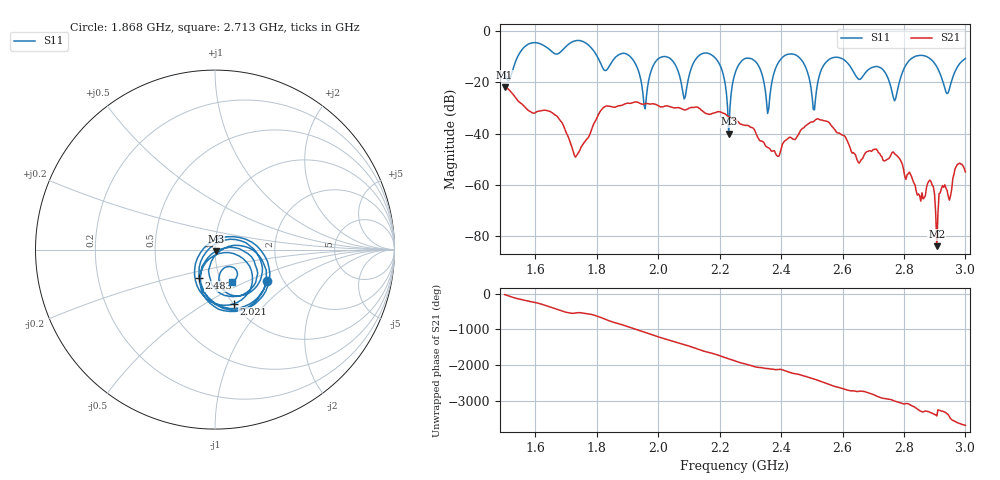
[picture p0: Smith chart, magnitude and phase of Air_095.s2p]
# HZ S RI R 50
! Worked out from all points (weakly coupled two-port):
!   404 points, 1.5 GHz to 3 GHz, reference 50 ohm
!   highest |S21| = -21.91 dB at 1.5 GHz (marker M1); lowest = -84.0 dB at 2.907 GHz (marker M2)
!   lowest |S11| = -40.0 dB at 2.23 GHz (marker M3), VSWR 1.02, Z = 50.4 - j0.919 ohm
!   |S11| at or under -10 dB: 2.181 GHz to 2.407 GHz (225.4 MHz wide, 9.82 % of centre); 2.457 GHz to 2.834 GHz (376.9 MHz wide, 14.2 % of centre); 2.875 GHz to end of sweep (the widest 3 of 7)
!   S12 and S22 are empty: the file has one direction only
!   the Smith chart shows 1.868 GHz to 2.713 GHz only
!   S11 on the Smith chart (normalised r, x): 1.868 GHz: 1.65, -0.65; 2.021 GHz: 1.00, -0.68; 2.483 GHz: 0.80, -0.26; 2.713 GHz: 1.12, -0.43
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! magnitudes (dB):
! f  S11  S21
! 1.5 GHz  -16.4  -21.9
! 1.753 GHz  -3.9  -44.5
! 1.868 GHz  -9.4  -29.2
! 1.958 GHz  -30.3  -28.3
! 2.002 GHz  -10.6  -29.3
! 2.021 GHz  -9.9  -29.3
! 2.084 GHz  -26.5  -30.7
! 2.177 GHz  -9.6  -32.1
! 2.23 GHz  -40.0  -33.4
! 2.252 GHz  -15.9  -34.5
! 2.315 GHz  -11.7  -38.9
! 2.356 GHz  -32.2  -45.4
! 2.39 GHz  -12.6  -48.9
! 2.483 GHz  -14.9  -36.7
! 2.501 GHz  -25.9  -35.4
! 2.565 GHz  -10.5  -37.1
! 2.713 GHz  -13.8  -46.6
! 2.751 GHz  -19.2  -49.8
! 2.888 GHz  -11.0  -58.8
! 2.907 GHz  -13.9  -84.0
! 2.94 GHz  -24.4  -62.3
! 3 GHz  -10.7  -55.0
